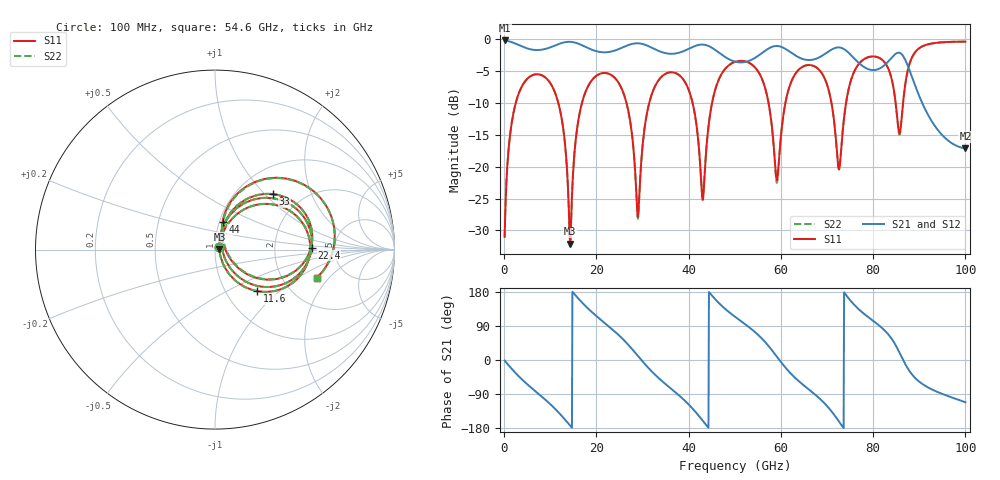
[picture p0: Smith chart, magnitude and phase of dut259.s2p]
! Touchstone file exported from HFSS 2026.1.0
!  File:  C:/ffzhzh/LocalFiles/Ansys_Project_Files/temp_train_TSV_RDL_259_1783673055_26216.aedt
!  Generated:  04:52:25 PM Jul 10, 2026
!  Design:  TSV_RDL
!  Project:  temp_train_TSV_RDL_259_1783673055_26216
! Variables:
!  h_bsmrdl = 2.99um
!  h_ox = 20um
!  h_rdl = 5um
!  h_sub = 69.93um
!  h_tmrdl = 3.13um
!  h_tsv = 69.93um
!  h_via = 3um
!  l_bsmrdl = 498.67um
!  l_sub = 4037.52um
!  l_tmrdl = 508.58um
!  m_sub = 200um
!  pitch = 45.44um
!  r_tsv = 10.73um
!  s_tmrdl = 10um
!  w_bsmrdl = 18.87um
!  w_sub = 500um
!  w_tmrdl = 16.86um
!  x_tsv_center1 = 517.01um
!  x_tsv_center2 = 1034.55um
!  x_tsv_center3 = 1559.99um
!  x_tsv_center4 = 2077.53um
!  x_tsv_center5 = 2602.97um
!  x_tsv_center6 = 3120.51um
# GHz S MA R 50.000000
! Terminal data exported
! Port[1] = TM_RDL1_1_T1
! Port[2] = TM_RDL5_1_T1
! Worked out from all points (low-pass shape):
!   1000 points, 100 MHz to 100 GHz, reference 50 ohm
!   highest |S21| = -0.21 dB at 100 MHz (marker M1); lowest = -17.1 dB at 100 GHz (marker M2)
!   |S21| within 3 dB of the highest: start of sweep to 48.9 GHz; 53.72 GHz to 65.21 GHz (11.49 GHz wide, 19.3 % of centre) (the widest 2 of 4)
!   lowest |S11| = -32.1 dB at 14.3 GHz (marker M3), VSWR 1.05, Z = 52.6 + j0.107 ohm
!   |S11| at or under -10 dB: 11.74 GHz to 16.87 GHz (5.129 GHz wide, 35.8 % of centre); 26.52 GHz to 31.46 GHz (4.938 GHz wide, 17 % of centre); 40.86 GHz to 45.08 GHz (4.221 GHz wide, 9.82 % of centre) (the widest 3 of 7)
!   |S22| runs from -32.5 to -0.4 dB; largest |S21 - S12| = 2.6e-13
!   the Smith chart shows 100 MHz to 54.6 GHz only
!   S11 on the Smith chart (normalised r, x): 100 MHz: 1.05, +0.03; 11.6 GHz: 1.40, -0.73; 22.4 GHz: 3.33, +0.10; 33 GHz: 1.45, +1.12; 44 GHz: 1.03, +0.33; 54.6 GHz: 3.09, -1.47
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0.1  0.02815 31.2  0.9762 -1.5  0.9762 -1.5  0.02815 31.2
! Gamma 0 0 0 0
! Port Impedance 50 0 50 0
3.6  0.409 38.0  0.8843 -48.2  0.8843 -48.2  0.409 38.0
11.6  0.3302 -44.4  0.9081 -135.8  0.9081 -135.8  0.3302 -44.6
14.3  0.02496 2.3  0.9522 -172.9  0.9522 -172.9  0.02383 1.9
16.8  0.309 57.2  0.8979 152.7  0.8979 152.7  0.3088 57.4
22.4  0.539 1.1  0.7902 91.8  0.7902 91.8  0.5389 1.2
26.6  0.3079 -40.8  0.8886 44.3  0.8886 44.3  0.3078 -41.0
29  0.04027 10.5  0.9276 10.8  0.9276 10.8  0.03907 10.6
33  0.4471 43.6  0.8232 -42.1  0.8232 -42.1  0.447 43.8
33.4  0.4717 39.6  0.8111 -46.7  0.8111 -46.7  0.4716 39.8
39.8  0.418 -21.2  0.8323 -114.7  0.8323 -114.7  0.4181 -20.8
42.9  0.05949 -3.6  0.9065 -157.8  0.9065 -157.8  0.06263 -2.2
44  0.1621 74.8  0.8923 -174.6  0.8923 -174.6  0.1635 73.6
50.1  0.6641 22.2  0.6654 113.7  0.6654 113.7  0.6643 21.9
54.6  0.588 -15.4  0.7206 71.4  0.7206 71.4  0.5879 -15.8
59.1  0.07816 4.9  0.8841 9.2  0.8841 9.2  0.07471 4.6
66.7  0.6226 6.2  0.6881 -84.1  0.6881 -84.1  0.6226 6.3
73.4  0.1896 62.8  0.8455 -176.4  0.8455 -176.4  0.1903 62.4
83.4  0.5741 -15.0  0.676 65.9  0.676 65.9  0.5737 -15.4
85.7  0.1821 13.9  0.7814 19.9  0.7814 19.9  0.1782 13.6
88.3  0.7032 40.2  0.5192 -36.2  0.5192 -36.2  0.7024 40.3
100  0.9551 -22.1  0.1389 -111.5  0.1389 -111.5  0.9549 -22.2
